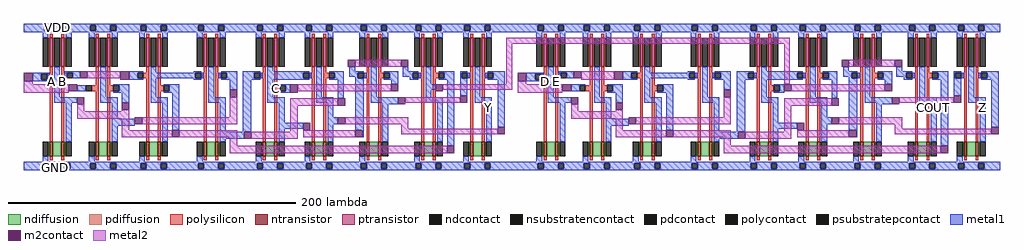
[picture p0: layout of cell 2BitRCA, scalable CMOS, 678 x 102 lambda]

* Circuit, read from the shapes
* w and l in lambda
.subckt 2BitRCA A B C COUT D E GND VDD Y Z
M1 n1 A GND GND nfet w=10 l=2
M2 n2 B n1 GND nfet w=10 l=2
M3 n3 A GND GND nfet w=10 l=2
M4 n4 n2 n3 GND nfet w=10 l=2
M5 n5 B GND GND nfet w=10 l=2
M6 n6 n2 n5 GND nfet w=10 l=2
M7 n7 n6 GND GND nfet w=10 l=2
M8 n8 n4 n7 GND nfet w=10 l=2
M9 n9 n8 GND GND nfet w=10 l=2
M10 n10 C n9 GND nfet w=10 l=2
M11 n11 n10 GND GND nfet w=10 l=2
M12 n12 n8 n11 GND nfet w=10 l=2
M13 n13 n10 GND GND nfet w=10 l=2
M14 n14 C n13 GND nfet w=10 l=2
M15 n15 n10 GND GND nfet w=10 l=2
M16 n16 n2 n15 GND nfet w=10 l=2
M17 n17 n14 GND GND nfet w=10 l=2
M18 Y n12 n17 GND nfet w=10 l=2
M19 n18 D GND GND nfet w=10 l=2
M20 n19 E n18 GND nfet w=10 l=2
M21 n20 D GND GND nfet w=10 l=2
M22 n21 n19 n20 GND nfet w=10 l=2
M23 n22 E GND GND nfet w=10 l=2
M24 n23 n19 n22 GND nfet w=10 l=2
M25 n24 n23 GND GND nfet w=10 l=2
M26 n25 n21 n24 GND nfet w=10 l=2
M27 n26 n25 GND GND nfet w=10 l=2
M28 n27 n16 n26 GND nfet w=10 l=2
M29 n28 n27 GND GND nfet w=10 l=2
M30 n29 n25 n28 GND nfet w=10 l=2
M31 n30 n27 GND GND nfet w=10 l=2
M32 n31 n16 n30 GND nfet w=10 l=2
M33 n32 n27 GND GND nfet w=10 l=2
M34 COUT n19 n32 GND nfet w=10 l=2
M35 n33 n31 GND GND nfet w=10 l=2
M36 Z n29 n33 GND nfet w=10 l=2
M37 n2 A VDD VDD pfet w=20 l=2
M38 VDD B n2 VDD pfet w=20 l=2
M39 n4 A VDD VDD pfet w=20 l=2
M40 VDD n2 n4 VDD pfet w=20 l=2
M41 n6 B VDD VDD pfet w=20 l=2
M42 VDD n2 n6 VDD pfet w=20 l=2
M43 n8 n6 VDD VDD pfet w=20 l=2
M44 VDD n4 n8 VDD pfet w=20 l=2
M45 n10 n8 VDD VDD pfet w=20 l=2
M46 VDD C n10 VDD pfet w=20 l=2
M47 n12 n10 VDD VDD pfet w=20 l=2
M48 VDD n8 n12 VDD pfet w=20 l=2
M49 n14 n10 VDD VDD pfet w=20 l=2
M50 VDD C n14 VDD pfet w=20 l=2
M51 n16 n10 VDD VDD pfet w=20 l=2
M52 VDD n2 n16 VDD pfet w=20 l=2
M53 Y n14 VDD VDD pfet w=20 l=2
M54 VDD n12 Y VDD pfet w=20 l=2
M55 n19 D VDD VDD pfet w=20 l=2
M56 VDD E n19 VDD pfet w=20 l=2
M57 n21 D VDD VDD pfet w=20 l=2
M58 VDD n19 n21 VDD pfet w=20 l=2
M59 n23 E VDD VDD pfet w=20 l=2
M60 VDD n19 n23 VDD pfet w=20 l=2
M61 n25 n23 VDD VDD pfet w=20 l=2
M62 VDD n21 n25 VDD pfet w=20 l=2
M63 n27 n25 VDD VDD pfet w=20 l=2
M64 VDD n16 n27 VDD pfet w=20 l=2
M65 n29 n27 VDD VDD pfet w=20 l=2
M66 VDD n25 n29 VDD pfet w=20 l=2
M67 n31 n27 VDD VDD pfet w=20 l=2
M68 VDD n16 n31 VDD pfet w=20 l=2
M69 COUT n27 VDD VDD pfet w=20 l=2
M70 VDD n19 COUT VDD pfet w=20 l=2
M71 Z n31 VDD VDD pfet w=20 l=2
M72 VDD n29 Z VDD pfet w=20 l=2
.ends

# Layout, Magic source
magic
tech scmos
<< ntransistor >>
rect -5 -41 -3 -31
rect 3 -41 5 -31
rect 27 -41 29 -31
rect 35 -41 37 -31
rect 62 -41 64 -31
rect 70 -41 72 -31
rect 102 -41 104 -31
rect 110 -41 112 -31
rect 143 -41 145 -31
rect 151 -41 153 -31
rect 177 -41 179 -31
rect 185 -41 187 -31
rect 215 -41 217 -31
rect 223 -41 225 -31
rect 253 -41 255 -31
rect 261 -41 263 -31
rect 287 -41 289 -31
rect 295 -41 297 -31
rect 338 -41 340 -31
rect 346 -41 348 -31
rect 370 -41 372 -31
rect 378 -41 380 -31
rect 405 -41 407 -31
rect 413 -41 415 -31
rect 445 -41 447 -31
rect 453 -41 455 -31
rect 486 -41 488 -31
rect 494 -41 496 -31
rect 520 -41 522 -31
rect 528 -41 530 -31
rect 558 -41 560 -31
rect 566 -41 568 -31
rect 596 -41 598 -31
rect 604 -41 606 -31
rect 630 -41 632 -31
rect 638 -41 640 -31
<< ptransistor >>
rect -5 21 -3 41
rect 3 21 5 41
rect 27 21 29 41
rect 35 21 37 41
rect 62 21 64 41
rect 70 21 72 41
rect 102 21 104 41
rect 110 21 112 41
rect 143 21 145 41
rect 151 21 153 41
rect 177 21 179 41
rect 185 21 187 41
rect 215 21 217 41
rect 223 21 225 41
rect 253 21 255 41
rect 261 21 263 41
rect 287 21 289 41
rect 295 21 297 41
rect 338 21 340 41
rect 346 21 348 41
rect 370 21 372 41
rect 378 21 380 41
rect 405 21 407 41
rect 413 21 415 41
rect 445 21 447 41
rect 453 21 455 41
rect 486 21 488 41
rect 494 21 496 41
rect 520 21 522 41
rect 528 21 530 41
rect 558 21 560 41
rect 566 21 568 41
rect 596 21 598 41
rect 604 21 606 41
rect 630 21 632 41
rect 638 21 640 41
<< ndiffusion >>
rect -6 -41 -5 -31
rect -3 -41 3 -31
rect 5 -41 6 -31
rect 26 -41 27 -31
rect 29 -41 35 -31
rect 37 -41 38 -31
rect 61 -41 62 -31
rect 64 -41 70 -31
rect 72 -41 73 -31
rect 101 -41 102 -31
rect 104 -41 110 -31
rect 112 -41 113 -31
rect 142 -41 143 -31
rect 145 -41 151 -31
rect 153 -41 154 -31
rect 176 -41 177 -31
rect 179 -41 185 -31
rect 187 -41 188 -31
rect 214 -41 215 -31
rect 217 -41 223 -31
rect 225 -41 226 -31
rect 252 -41 253 -31
rect 255 -41 261 -31
rect 263 -41 264 -31
rect 286 -41 287 -31
rect 289 -41 295 -31
rect 297 -41 298 -31
rect 337 -41 338 -31
rect 340 -41 346 -31
rect 348 -41 349 -31
rect 369 -41 370 -31
rect 372 -41 378 -31
rect 380 -41 381 -31
rect 404 -41 405 -31
rect 407 -41 413 -31
rect 415 -41 416 -31
rect 444 -41 445 -31
rect 447 -41 453 -31
rect 455 -41 456 -31
rect 485 -41 486 -31
rect 488 -41 494 -31
rect 496 -41 497 -31
rect 519 -41 520 -31
rect 522 -41 528 -31
rect 530 -41 531 -31
rect 557 -41 558 -31
rect 560 -41 566 -31
rect 568 -41 569 -31
rect 595 -41 596 -31
rect 598 -41 604 -31
rect 606 -41 607 -31
rect 629 -41 630 -31
rect 632 -41 638 -31
rect 640 -41 641 -31
<< pdiffusion >>
rect -6 21 -5 41
rect -3 21 -2 41
rect 2 21 3 41
rect 5 21 6 41
rect 26 21 27 41
rect 29 21 30 41
rect 34 21 35 41
rect 37 21 38 41
rect 61 21 62 41
rect 64 21 65 41
rect 69 21 70 41
rect 72 21 73 41
rect 101 21 102 41
rect 104 21 105 41
rect 109 21 110 41
rect 112 21 113 41
rect 142 21 143 41
rect 145 21 146 41
rect 150 21 151 41
rect 153 21 154 41
rect 176 21 177 41
rect 179 21 180 41
rect 184 21 185 41
rect 187 21 188 41
rect 214 21 215 41
rect 217 21 218 41
rect 222 21 223 41
rect 225 21 226 41
rect 252 21 253 41
rect 255 21 256 41
rect 260 21 261 41
rect 263 21 264 41
rect 286 21 287 41
rect 289 21 290 41
rect 294 21 295 41
rect 297 21 298 41
rect 337 21 338 41
rect 340 21 341 41
rect 345 21 346 41
rect 348 21 349 41
rect 369 21 370 41
rect 372 21 373 41
rect 377 21 378 41
rect 380 21 381 41
rect 404 21 405 41
rect 407 21 408 41
rect 412 21 413 41
rect 415 21 416 41
rect 444 21 445 41
rect 447 21 448 41
rect 452 21 453 41
rect 455 21 456 41
rect 485 21 486 41
rect 488 21 489 41
rect 493 21 494 41
rect 496 21 497 41
rect 519 21 520 41
rect 522 21 523 41
rect 527 21 528 41
rect 530 21 531 41
rect 557 21 558 41
rect 560 21 561 41
rect 565 21 566 41
rect 568 21 569 41
rect 595 21 596 41
rect 598 21 599 41
rect 603 21 604 41
rect 606 21 607 41
rect 629 21 630 41
rect 632 21 633 41
rect 637 21 638 41
rect 640 21 641 41
<< ndcontact >>
rect -10 -41 -6 -31
rect 6 -41 10 -31
rect 22 -41 26 -31
rect 38 -41 42 -31
rect 57 -41 61 -31
rect 73 -41 77 -31
rect 97 -41 101 -31
rect 113 -41 117 -31
rect 138 -41 142 -31
rect 154 -41 158 -31
rect 172 -41 176 -31
rect 188 -41 192 -31
rect 210 -41 214 -31
rect 226 -41 230 -31
rect 248 -41 252 -31
rect 264 -41 268 -31
rect 282 -41 286 -31
rect 298 -41 302 -31
rect 333 -41 337 -31
rect 349 -41 353 -31
rect 365 -41 369 -31
rect 381 -41 385 -31
rect 400 -41 404 -31
rect 416 -41 420 -31
rect 440 -41 444 -31
rect 456 -41 460 -31
rect 481 -41 485 -31
rect 497 -41 501 -31
rect 515 -41 519 -31
rect 531 -41 535 -31
rect 553 -41 557 -31
rect 569 -41 573 -31
rect 591 -41 595 -31
rect 607 -41 611 -31
rect 625 -41 629 -31
rect 641 -41 645 -31
<< pdcontact >>
rect -10 21 -6 41
rect -2 21 2 41
rect 6 21 10 41
rect 22 21 26 41
rect 30 21 34 41
rect 38 21 42 41
rect 57 21 61 41
rect 65 21 69 41
rect 73 21 77 41
rect 97 21 101 41
rect 105 21 109 41
rect 113 21 117 41
rect 138 21 142 41
rect 146 21 150 41
rect 154 21 158 41
rect 172 21 176 41
rect 180 21 184 41
rect 188 21 192 41
rect 210 21 214 41
rect 218 21 222 41
rect 226 21 230 41
rect 248 21 252 41
rect 256 21 260 41
rect 264 21 268 41
rect 282 21 286 41
rect 290 21 294 41
rect 298 21 302 41
rect 333 21 337 41
rect 341 21 345 41
rect 349 21 353 41
rect 365 21 369 41
rect 373 21 377 41
rect 381 21 385 41
rect 400 21 404 41
rect 408 21 412 41
rect 416 21 420 41
rect 440 21 444 41
rect 448 21 452 41
rect 456 21 460 41
rect 481 21 485 41
rect 489 21 493 41
rect 497 21 501 41
rect 515 21 519 41
rect 523 21 527 41
rect 531 21 535 41
rect 553 21 557 41
rect 561 21 565 41
rect 569 21 573 41
rect 591 21 595 41
rect 599 21 603 41
rect 607 21 611 41
rect 625 21 629 41
rect 633 21 637 41
rect 641 21 645 41
<< psubstratepcontact >>
rect -9 -50 -5 -46
rect 5 -50 9 -46
rect 23 -50 27 -46
rect 37 -50 41 -46
rect 58 -50 62 -46
rect 72 -50 76 -46
rect 98 -50 102 -46
rect 112 -50 116 -46
rect 139 -50 143 -46
rect 153 -50 157 -46
rect 173 -50 177 -46
rect 187 -50 191 -46
rect 211 -50 215 -46
rect 225 -50 229 -46
rect 249 -50 253 -46
rect 263 -50 267 -46
rect 283 -50 287 -46
rect 297 -50 301 -46
rect 334 -50 338 -46
rect 348 -50 352 -46
rect 366 -50 370 -46
rect 380 -50 384 -46
rect 401 -50 405 -46
rect 415 -50 419 -46
rect 441 -50 445 -46
rect 455 -50 459 -46
rect 482 -50 486 -46
rect 496 -50 500 -46
rect 516 -50 520 -46
rect 530 -50 534 -46
rect 554 -50 558 -46
rect 568 -50 572 -46
rect 592 -50 596 -46
rect 606 -50 610 -46
rect 626 -50 630 -46
rect 640 -50 644 -46
<< nsubstratencontact >>
rect -9 46 -5 50
rect 5 46 9 50
rect 23 46 27 50
rect 37 46 41 50
rect 58 46 62 50
rect 72 46 76 50
rect 98 46 102 50
rect 112 46 116 50
rect 139 46 143 50
rect 153 46 157 50
rect 173 46 177 50
rect 187 46 191 50
rect 211 46 215 50
rect 225 46 229 50
rect 249 46 253 50
rect 263 46 267 50
rect 283 46 287 50
rect 297 46 301 50
rect 334 46 338 50
rect 348 46 352 50
rect 366 46 370 50
rect 380 46 384 50
rect 401 46 405 50
rect 415 46 419 50
rect 441 46 445 50
rect 455 46 459 50
rect 482 46 486 50
rect 496 46 500 50
rect 516 46 520 50
rect 530 46 534 50
rect 554 46 558 50
rect 568 46 572 50
rect 592 46 596 50
rect 606 46 610 50
rect 626 46 630 50
rect 640 46 644 50
<< polysilicon >>
rect -5 41 -3 44
rect 3 41 5 44
rect 27 41 29 44
rect 35 41 37 44
rect 62 41 64 44
rect 70 41 72 44
rect 102 41 104 44
rect 110 41 112 44
rect 143 41 145 44
rect 151 41 153 44
rect 177 41 179 44
rect 185 41 187 44
rect 215 41 217 44
rect 223 41 225 44
rect 253 41 255 44
rect 261 41 263 44
rect 287 41 289 44
rect 295 41 297 44
rect 338 41 340 44
rect 346 41 348 44
rect 370 41 372 44
rect 378 41 380 44
rect 405 41 407 44
rect 413 41 415 44
rect 445 41 447 44
rect 453 41 455 44
rect 486 41 488 44
rect 494 41 496 44
rect 520 41 522 44
rect 528 41 530 44
rect 558 41 560 44
rect 566 41 568 44
rect 596 41 598 44
rect 604 41 606 44
rect 630 41 632 44
rect 638 41 640 44
rect -5 16 -3 21
rect -7 12 -3 16
rect -5 -31 -3 12
rect 3 17 5 21
rect 3 13 7 17
rect 3 -31 5 13
rect 27 8 29 21
rect 24 4 29 8
rect 27 -31 29 4
rect 35 8 37 21
rect 62 17 64 21
rect 60 13 64 17
rect 35 4 39 8
rect 35 -31 37 4
rect 62 -31 64 13
rect 70 8 72 21
rect 102 17 104 21
rect 100 13 104 17
rect 70 4 74 8
rect 70 -31 72 4
rect 102 -31 104 13
rect 110 17 112 21
rect 143 17 145 21
rect 110 13 114 17
rect 141 13 145 17
rect 110 -31 112 13
rect 143 -31 145 13
rect 151 8 153 21
rect 177 17 179 21
rect 175 13 179 17
rect 151 4 155 8
rect 151 -31 153 4
rect 177 -31 179 13
rect 185 17 187 21
rect 215 17 217 21
rect 185 13 189 17
rect 213 13 217 17
rect 185 -31 187 13
rect 215 -31 217 13
rect 223 17 225 21
rect 253 17 255 21
rect 223 13 227 17
rect 251 13 255 17
rect 223 -31 225 13
rect 253 -31 255 13
rect 261 17 263 21
rect 287 17 289 21
rect 261 13 265 17
rect 285 13 289 17
rect 261 -31 263 13
rect 287 -31 289 13
rect 295 17 297 21
rect 295 13 299 17
rect 338 16 340 21
rect 295 -31 297 13
rect 336 12 340 16
rect 338 -31 340 12
rect 346 17 348 21
rect 346 13 350 17
rect 346 -31 348 13
rect 370 8 372 21
rect 367 4 372 8
rect 370 -31 372 4
rect 378 8 380 21
rect 405 17 407 21
rect 403 13 407 17
rect 378 4 382 8
rect 378 -31 380 4
rect 405 -31 407 13
rect 413 8 415 21
rect 445 17 447 21
rect 443 13 447 17
rect 413 4 417 8
rect 413 -31 415 4
rect 445 -31 447 13
rect 453 17 455 21
rect 486 17 488 21
rect 453 13 457 17
rect 484 13 488 17
rect 453 -31 455 13
rect 486 -31 488 13
rect 494 8 496 21
rect 520 17 522 21
rect 518 13 522 17
rect 494 4 498 8
rect 494 -31 496 4
rect 520 -31 522 13
rect 528 17 530 21
rect 558 17 560 21
rect 528 13 532 17
rect 556 13 560 17
rect 528 -31 530 13
rect 558 -31 560 13
rect 566 17 568 21
rect 596 17 598 21
rect 566 13 570 17
rect 594 13 598 17
rect 566 -31 568 13
rect 596 -31 598 13
rect 604 17 606 21
rect 630 17 632 21
rect 604 13 608 17
rect 628 13 632 17
rect 604 -31 606 13
rect 630 -31 632 13
rect 638 17 640 21
rect 638 13 642 17
rect 638 -31 640 13
rect -5 -44 -3 -41
rect 3 -44 5 -41
rect 27 -44 29 -41
rect 35 -44 37 -41
rect 62 -44 64 -41
rect 70 -44 72 -41
rect 102 -44 104 -41
rect 110 -44 112 -41
rect 143 -44 145 -41
rect 151 -44 153 -41
rect 177 -44 179 -41
rect 185 -44 187 -41
rect 215 -44 217 -41
rect 223 -44 225 -41
rect 253 -44 255 -41
rect 261 -44 263 -41
rect 287 -44 289 -41
rect 295 -44 297 -41
rect 338 -44 340 -41
rect 346 -44 348 -41
rect 370 -44 372 -41
rect 378 -44 380 -41
rect 405 -44 407 -41
rect 413 -44 415 -41
rect 445 -44 447 -41
rect 453 -44 455 -41
rect 486 -44 488 -41
rect 494 -44 496 -41
rect 520 -44 522 -41
rect 528 -44 530 -41
rect 558 -44 560 -41
rect 566 -44 568 -41
rect 596 -44 598 -41
rect 604 -44 606 -41
rect 630 -44 632 -41
rect 638 -44 640 -41
<< polycontact >>
rect -11 12 -7 16
rect 7 13 11 17
rect 20 4 24 8
rect 56 13 60 17
rect 39 4 43 8
rect 96 13 100 17
rect 74 4 78 8
rect 114 13 118 17
rect 137 13 141 17
rect 171 13 175 17
rect 155 4 159 8
rect 189 13 193 17
rect 209 13 213 17
rect 227 13 231 17
rect 247 13 251 17
rect 265 13 269 17
rect 281 13 285 17
rect 299 13 303 17
rect 332 12 336 16
rect 350 13 354 17
rect 363 4 367 8
rect 399 13 403 17
rect 382 4 386 8
rect 439 13 443 17
rect 417 4 421 8
rect 457 13 461 17
rect 480 13 484 17
rect 514 13 518 17
rect 498 4 502 8
rect 532 13 536 17
rect 552 13 556 17
rect 570 13 574 17
rect 590 13 594 17
rect 608 13 612 17
rect 624 13 628 17
rect 642 13 646 17
<< metal1 >>
rect -23 50 655 51
rect -23 46 -9 50
rect -5 46 5 50
rect 9 46 23 50
rect 27 46 37 50
rect 41 46 58 50
rect 62 46 72 50
rect 76 46 98 50
rect 102 46 112 50
rect 116 46 139 50
rect 143 46 153 50
rect 157 46 173 50
rect 177 46 187 50
rect 191 46 211 50
rect 215 46 225 50
rect 229 46 249 50
rect 253 46 263 50
rect 267 46 283 50
rect 287 46 297 50
rect 301 46 334 50
rect 338 46 348 50
rect 352 46 366 50
rect 370 46 380 50
rect 384 46 401 50
rect 405 46 415 50
rect 419 46 441 50
rect 445 46 455 50
rect 459 46 482 50
rect 486 46 496 50
rect 500 46 516 50
rect 520 46 530 50
rect 534 46 554 50
rect 558 46 568 50
rect 572 46 592 50
rect 596 46 606 50
rect 610 46 626 50
rect 630 46 640 50
rect 644 46 655 50
rect -23 45 655 46
rect -10 41 -6 45
rect 6 41 10 45
rect 22 41 26 45
rect 38 41 42 45
rect 57 41 61 45
rect 73 41 77 45
rect 97 41 101 45
rect 113 41 117 45
rect 138 41 142 45
rect 154 41 158 45
rect 172 41 176 45
rect 188 41 192 45
rect 210 41 214 45
rect 226 41 230 45
rect 248 41 252 45
rect 264 41 268 45
rect 282 41 286 45
rect 298 41 302 45
rect 333 41 337 45
rect 349 41 353 45
rect 365 41 369 45
rect 381 41 385 45
rect 400 41 404 45
rect 416 41 420 45
rect 440 41 444 45
rect 456 41 460 45
rect 481 41 485 45
rect 497 41 501 45
rect 515 41 519 45
rect 531 41 535 45
rect 553 41 557 45
rect 569 41 573 45
rect 591 41 595 45
rect 607 41 611 45
rect 625 41 629 45
rect 641 41 645 45
rect -17 16 -5 17
rect -17 12 -11 16
rect -7 12 -5 16
rect -17 11 -5 12
rect -2 0 2 21
rect 5 17 16 18
rect 5 13 7 17
rect 11 13 16 17
rect 14 4 20 8
rect 30 0 34 21
rect 50 17 60 18
rect 50 13 56 17
rect 50 12 60 13
rect 65 17 69 21
rect 95 17 100 18
rect 65 13 96 17
rect 100 13 102 17
rect 39 8 50 9
rect 43 4 50 8
rect 39 3 50 4
rect -2 -4 14 0
rect 6 -31 10 -4
rect 30 -4 42 0
rect 38 -15 42 -4
rect 45 -4 50 3
rect 65 0 69 13
rect 95 12 100 13
rect 74 8 85 9
rect 78 4 85 8
rect 74 3 85 4
rect 65 -4 77 0
rect 38 -20 54 -15
rect 38 -31 42 -20
rect 73 -31 77 -4
rect 80 -23 85 3
rect 105 0 109 21
rect 146 18 150 21
rect 114 17 125 18
rect 112 13 114 17
rect 118 13 125 17
rect 114 12 125 13
rect 120 5 125 12
rect 129 17 141 18
rect 146 17 175 18
rect 129 13 137 17
rect 141 13 143 17
rect 146 13 171 17
rect 175 13 177 17
rect 129 12 141 13
rect 146 12 175 13
rect 105 -4 117 0
rect 113 -24 117 -4
rect 129 -24 135 12
rect 146 0 150 12
rect 155 8 162 9
rect 159 4 162 8
rect 155 3 162 4
rect 180 0 184 21
rect 203 18 207 21
rect 189 17 199 18
rect 193 13 199 17
rect 203 17 213 18
rect 203 14 209 17
rect 189 12 199 13
rect 146 -4 158 0
rect 180 -4 192 0
rect 113 -29 130 -24
rect 154 -18 158 -4
rect 188 -14 192 -4
rect 195 -1 199 12
rect 207 13 209 14
rect 213 13 215 17
rect 154 -22 171 -18
rect 113 -31 117 -29
rect 154 -31 158 -22
rect 188 -19 195 -14
rect 188 -31 192 -19
rect 207 -23 213 13
rect 218 0 222 21
rect 240 18 244 21
rect 227 17 237 18
rect 231 13 237 17
rect 240 17 251 18
rect 240 14 247 17
rect 227 12 237 13
rect 245 13 247 14
rect 251 13 253 17
rect 245 12 251 13
rect 232 9 237 12
rect 256 9 260 21
rect 265 17 276 18
rect 269 13 276 17
rect 265 12 276 13
rect 256 5 263 9
rect 256 0 260 5
rect 218 -4 237 0
rect 212 -28 213 -23
rect 226 -5 237 -4
rect 256 -4 268 0
rect 226 -31 230 -5
rect 264 -31 268 -4
rect 271 -34 276 12
rect 280 17 285 18
rect 280 13 281 17
rect 285 13 287 17
rect 280 1 285 13
rect 290 0 294 21
rect 299 17 311 18
rect 297 13 299 17
rect 303 13 311 17
rect 299 12 311 13
rect 290 -4 302 0
rect 298 -31 302 -4
rect 306 -21 311 12
rect 326 16 338 17
rect 326 12 332 16
rect 336 12 338 16
rect 326 11 338 12
rect 341 0 345 21
rect 348 17 359 18
rect 348 13 350 17
rect 354 13 359 17
rect 357 8 367 9
rect 357 4 363 8
rect 373 0 377 21
rect 393 17 403 18
rect 393 13 399 17
rect 393 12 403 13
rect 408 17 412 21
rect 438 17 443 18
rect 408 13 439 17
rect 443 13 445 17
rect 382 8 393 9
rect 386 4 393 8
rect 382 3 393 4
rect 341 -4 357 0
rect 349 -31 353 -4
rect 373 -4 385 0
rect 381 -15 385 -4
rect 388 -4 393 3
rect 408 0 412 13
rect 438 12 443 13
rect 417 8 428 9
rect 421 4 428 8
rect 417 3 428 4
rect 408 -4 420 0
rect 381 -20 397 -15
rect 381 -31 385 -20
rect 416 -31 420 -4
rect 423 -23 428 3
rect 448 0 452 21
rect 489 18 493 21
rect 457 17 468 18
rect 455 13 457 17
rect 461 13 468 17
rect 457 12 468 13
rect 463 5 468 12
rect 472 17 484 18
rect 489 17 518 18
rect 472 13 480 17
rect 484 13 486 17
rect 489 13 514 17
rect 518 13 520 17
rect 472 12 484 13
rect 489 12 518 13
rect 448 -4 460 0
rect 456 -24 460 -4
rect 472 -24 478 12
rect 489 0 493 12
rect 498 8 505 9
rect 502 4 505 8
rect 498 3 505 4
rect 523 0 527 21
rect 546 18 550 21
rect 532 17 542 18
rect 536 13 542 17
rect 546 17 556 18
rect 546 14 552 17
rect 532 12 542 13
rect 489 -4 501 0
rect 523 -4 535 0
rect 456 -29 473 -24
rect 497 -18 501 -4
rect 531 -14 535 -4
rect 538 -1 542 12
rect 550 13 552 14
rect 556 13 558 17
rect 497 -22 514 -18
rect 456 -31 460 -29
rect 497 -31 501 -22
rect 531 -19 538 -14
rect 531 -31 535 -19
rect 550 -23 556 13
rect 561 0 565 21
rect 583 18 587 21
rect 570 17 580 18
rect 574 13 580 17
rect 583 17 594 18
rect 583 14 590 17
rect 570 12 580 13
rect 588 13 590 14
rect 594 13 596 17
rect 588 12 594 13
rect 575 9 580 12
rect 599 0 603 21
rect 608 17 619 18
rect 612 13 619 17
rect 608 12 619 13
rect 561 -4 580 0
rect 555 -28 556 -23
rect 569 -5 580 -4
rect 599 -4 611 0
rect 569 -31 573 -5
rect 607 -31 611 -4
rect 614 -34 619 12
rect 623 17 628 18
rect 623 13 624 17
rect 628 13 630 17
rect 623 1 628 13
rect 633 0 637 21
rect 642 17 654 18
rect 640 13 642 17
rect 646 13 654 17
rect 642 12 654 13
rect 633 -4 645 0
rect 641 -31 645 -4
rect 649 -21 654 12
rect -10 -45 -6 -41
rect 22 -45 26 -41
rect 57 -45 61 -41
rect 97 -45 101 -41
rect 138 -45 142 -41
rect 172 -45 176 -41
rect 210 -45 214 -41
rect 248 -45 252 -41
rect 282 -45 286 -41
rect 333 -45 337 -41
rect 365 -45 369 -41
rect 400 -45 404 -41
rect 440 -45 444 -41
rect 481 -45 485 -41
rect 515 -45 519 -41
rect 553 -45 557 -41
rect 591 -45 595 -41
rect 625 -45 629 -41
rect -23 -46 655 -45
rect -23 -50 -9 -46
rect -5 -50 5 -46
rect 9 -50 23 -46
rect 27 -50 37 -46
rect 41 -50 58 -46
rect 62 -50 72 -46
rect 76 -50 98 -46
rect 102 -50 112 -46
rect 116 -50 139 -46
rect 143 -50 153 -46
rect 157 -50 173 -46
rect 177 -50 187 -46
rect 191 -50 211 -46
rect 215 -50 225 -46
rect 229 -50 249 -46
rect 253 -50 263 -46
rect 267 -50 283 -46
rect 287 -50 297 -46
rect 301 -50 334 -46
rect 338 -50 348 -46
rect 352 -50 366 -46
rect 370 -50 380 -46
rect 384 -50 401 -46
rect 405 -50 415 -46
rect 419 -50 441 -46
rect 445 -50 455 -46
rect 459 -50 482 -46
rect 486 -50 496 -46
rect 500 -50 516 -46
rect 520 -50 530 -46
rect 534 -50 554 -46
rect 558 -50 568 -46
rect 572 -50 592 -46
rect 596 -50 606 -46
rect 610 -50 626 -46
rect 630 -50 640 -46
rect 644 -50 655 -46
rect -23 -51 655 -50
<< m2contact >>
rect 202 21 207 26
rect 239 21 244 26
rect 545 21 550 26
rect 582 21 587 26
rect -23 11 -17 17
rect 16 13 21 18
rect 8 4 14 9
rect 44 12 50 18
rect 14 -5 19 0
rect 45 -9 50 -4
rect 54 -19 59 -14
rect 120 0 125 5
rect 80 -28 85 -23
rect 162 3 167 9
rect 130 -29 135 -24
rect 195 -6 200 -1
rect 171 -23 176 -18
rect 195 -19 200 -14
rect 232 4 237 9
rect 263 4 268 9
rect 207 -28 212 -23
rect 237 -5 242 0
rect 280 -4 285 1
rect 320 11 326 17
rect 359 13 364 18
rect 351 4 357 9
rect 387 12 393 18
rect 306 -26 311 -21
rect 357 -5 362 0
rect 388 -9 393 -4
rect 397 -19 402 -14
rect 463 0 468 5
rect 423 -28 428 -23
rect 505 4 510 9
rect 473 -29 478 -24
rect 538 -6 543 -1
rect 514 -23 519 -18
rect 538 -19 543 -14
rect 575 4 580 9
rect 550 -28 555 -23
rect 580 -5 585 0
rect 271 -39 276 -34
rect 623 -4 628 1
rect 649 -26 654 -21
rect 614 -39 619 -34
<< metal2 >>
rect 312 37 509 41
rect 207 21 239 26
rect 21 13 44 18
rect -23 9 -17 11
rect 312 9 316 37
rect -23 3 8 9
rect 167 4 232 9
rect 268 5 316 9
rect 364 12 387 18
rect 320 9 326 11
rect 505 9 509 37
rect 550 21 582 26
rect 320 3 351 9
rect 14 -10 19 -5
rect 45 -10 50 -9
rect 14 -15 50 -10
rect 120 -14 125 0
rect 45 -23 50 -15
rect 59 -19 125 -14
rect 162 -6 195 -1
rect 242 -4 280 0
rect 510 4 575 9
rect 45 -28 80 -23
rect 85 -28 125 -23
rect 162 -24 167 -6
rect 357 -10 362 -5
rect 388 -10 393 -9
rect 120 -34 125 -28
rect 135 -29 167 -24
rect 200 -19 244 -14
rect 357 -15 393 -10
rect 463 -14 468 0
rect 239 -22 244 -19
rect 171 -28 207 -23
rect 239 -26 306 -22
rect 388 -23 393 -15
rect 402 -19 468 -14
rect 505 -6 538 -1
rect 585 -4 623 0
rect 388 -28 423 -23
rect 428 -28 468 -23
rect 505 -24 510 -6
rect 463 -34 468 -28
rect 478 -29 510 -24
rect 543 -19 587 -14
rect 582 -22 587 -19
rect 514 -28 550 -23
rect 582 -26 649 -22
rect 120 -39 271 -34
rect 463 -39 614 -34
<< labels >>
rlabel metal1 -1 -49 -1 -49 1 GND
rlabel metal1 609 -7 609 -7 1 COUT
rlabel metal1 0 48 0 48 5 VDD
rlabel polysilicon 152 6 152 6 1 C
rlabel polysilicon -4 11 -4 11 1 A
rlabel polysilicon 4 11 4 11 1 B
rlabel metal1 300 -7 300 -7 1 Y
rlabel polysilicon 339 11 339 11 1 D
rlabel polysilicon 347 11 347 11 1 E
rlabel metal1 643 -7 643 -7 1 Z
<< end >>
